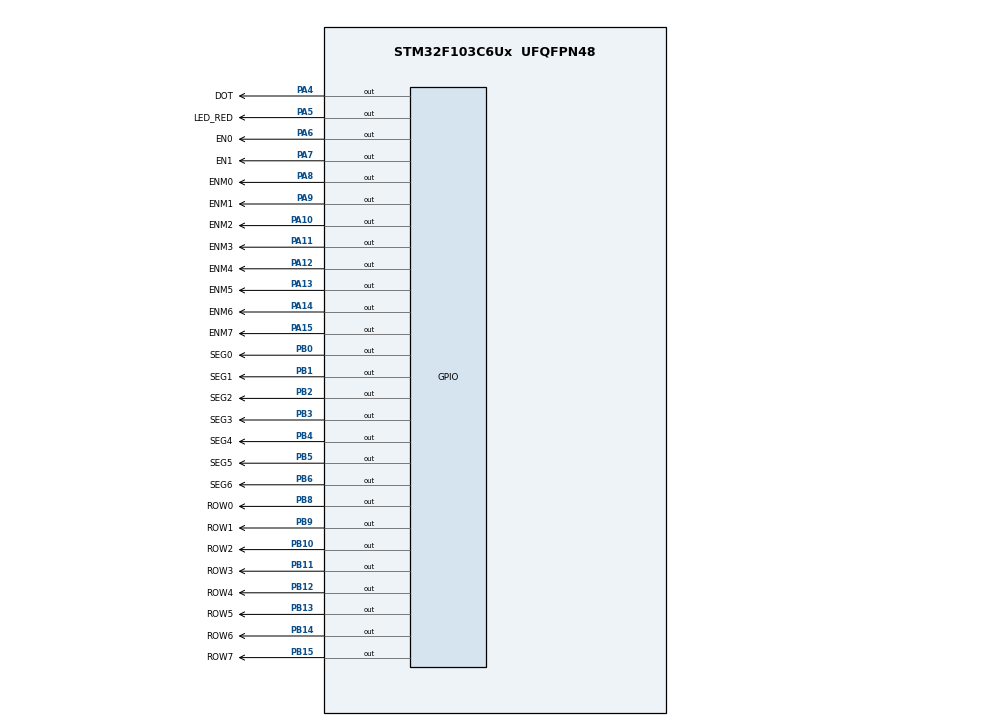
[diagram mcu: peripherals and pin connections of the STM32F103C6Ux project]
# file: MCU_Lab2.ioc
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Mcu.Family=STM32F1
Mcu.Name=STM32F103C6Ux
Mcu.Package=UFQFPN48
NVIC.PriorityGroup=NVIC_PRIORITYGROUP_4
NVIC.TIM2_IRQn=true\:0\:0\:false\:false\:true\:true\:true
PA10.GPIO_Label=ENM2
PA10.Signal=GPIO_Output
PA11.GPIO_Label=ENM3
PA11.Signal=GPIO_Output
PA12.GPIO_Label=ENM4
PA12.Signal=GPIO_Output
PA13.GPIO_Label=ENM5
PA13.Signal=GPIO_Output
PA14.GPIO_Label=ENM6
PA14.Signal=GPIO_Output
PA15.GPIO_Label=ENM7
PA15.Signal=GPIO_Output
PA4.GPIO_Label=DOT
PA4.Signal=GPIO_Output
PA5.GPIO_Label=LED_RED
PA5.Signal=GPIO_Output
PA6.GPIO_Label=EN0
PA6.Signal=GPIO_Output
PA7.GPIO_Label=EN1
PA7.Signal=GPIO_Output
PA8.GPIO_Label=ENM0
PA8.Signal=GPIO_Output
PA9.GPIO_Label=ENM1
PA9.Signal=GPIO_Output
PB0.GPIO_Label=SEG0
PB0.Signal=GPIO_Output
PB1.GPIO_Label=SEG1
PB1.Signal=GPIO_Output
PB10.GPIO_Label=ROW2
PB10.Signal=GPIO_Output
PB11.GPIO_Label=ROW3
PB11.Signal=GPIO_Output
PB12.GPIO_Label=ROW4
PB12.Signal=GPIO_Output
PB13.GPIO_Label=ROW5
PB13.Signal=GPIO_Output
PB14.GPIO_Label=ROW6
PB14.Signal=GPIO_Output
PB15.GPIO_Label=ROW7
PB15.Signal=GPIO_Output
PB2.GPIO_Label=SEG2
PB2.Signal=GPIO_Output
PB3.GPIO_Label=SEG3
PB3.Signal=GPIO_Output
PB4.GPIO_Label=SEG4
PB4.Signal=GPIO_Output
PB5.GPIO_Label=SEG5
PB5.Signal=GPIO_Output
PB6.GPIO_Label=SEG6
PB6.Signal=GPIO_Output
PB8.GPIO_Label=ROW0
PB8.Signal=GPIO_Output
PB9.GPIO_Label=ROW1
PB9.Signal=GPIO_Output
ProjectManager.HeapSize=0x200
ProjectManager.StackSize=0x400
ProjectManager.TargetToolchain=STM32CubeIDE
RCC.APB1Freq_Value=8000000
RCC.APB2Freq_Value=8000000
TIM2.Period=9
TIM2.Prescaler=7999
VP_SYS_VS_ND.Mode=No_Debug
VP_TIM2_VS_ClockSourceINT.Mode=Internal
board=custom

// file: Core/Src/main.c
/* USER CODE BEGIN Header */
/**
  ******************************************************************************
  * @file           : main.c
  * @brief          : Main program body
  ******************************************************************************
  * @attention
  *
  * <h2><center>&copy; Copyright (c) 2023 STMicroelectronics.
  * All rights reserved.</center></h2>
  *
  * This software component is licensed by ST under BSD 3-Clause license,
  * the "License"; You may not use this file except in compliance with the
  * License. You may obtain a copy of the License at:
  *                        opensource.org/licenses/BSD-3-Clause
  *
  ******************************************************************************
  */
/* USER CODE END Header */
#include "main.h"

/* USER CODE BEGIN Includes */
#include "software_timer.h"
/* USER CODE END Includes */

TIM_HandleTypeDef htim2;

void SystemClock_Config(void);
static void MX_GPIO_Init(void);
static void MX_TIM2_Init(void);

/* USER CODE BEGIN 0 */
void display(int val){
	switch (val){
		case 0:
			HAL_GPIO_WritePin(GPIOB, SEG1_Pin | SEG2_Pin |SEG0_Pin | SEG3_Pin | SEG4_Pin | SEG5_Pin, RESET);
			HAL_GPIO_WritePin(GPIOB, SEG6_Pin , SET);
			break;
		case 1:
			HAL_GPIO_WritePin(GPIOB, SEG1_Pin | SEG2_Pin , RESET);
			HAL_GPIO_WritePin(GPIOB, SEG0_Pin | SEG3_Pin | SEG4_Pin | SEG5_Pin| SEG6_Pin , SET);
			break;
		case 2:
			HAL_GPIO_WritePin(GPIOB, SEG0_Pin | SEG1_Pin | SEG3_Pin | SEG4_Pin | SEG6_Pin , RESET);
			HAL_GPIO_WritePin(GPIOB, SEG2_Pin | SEG5_Pin , SET);
			break;
		case 3:
			HAL_GPIO_WritePin(GPIOB, SEG1_Pin | SEG2_Pin |SEG0_Pin | SEG3_Pin | SEG6_Pin, RESET);
			HAL_GPIO_WritePin(GPIOB, SEG4_Pin | SEG5_Pin , SET);
			break;
		case 4:
			HAL_GPIO_WritePin(GPIOB, SEG1_Pin | SEG2_Pin |SEG5_Pin | SEG6_Pin, RESET);
			HAL_GPIO_WritePin(GPIOB, SEG0_Pin | SEG3_Pin| SEG4_Pin , SET);
			break;
		case 5:
			HAL_GPIO_WritePin(GPIOB, SEG0_Pin | SEG2_Pin | SEG3_Pin |SEG5_Pin | SEG6_Pin, RESET);
			HAL_GPIO_WritePin(GPIOB, SEG1_Pin | SEG4_Pin , SET);
			break;
		case 6:
			HAL_GPIO_WritePin(GPIOB, SEG0_Pin | SEG2_Pin | SEG3_Pin |  SEG4_Pin| SEG5_Pin | SEG6_Pin, RESET);
			HAL_GPIO_WritePin(GPIOB, SEG1_Pin , SET);
			break;
		case 7:
			HAL_GPIO_WritePin(GPIOB, SEG0_Pin | SEG1_Pin | SEG2_Pin , RESET);
			HAL_GPIO_WritePin(GPIOB, SEG3_Pin | SEG4_Pin | SEG5_Pin |  SEG6_Pin, SET);
			break;
		case 8:
			HAL_GPIO_WritePin(GPIOB, SEG1_Pin | SEG2_Pin |SEG0_Pin | SEG3_Pin | SEG4_Pin | SEG5_Pin |SEG6_Pin, RESET);
			break;
		case 9:
			HAL_GPIO_WritePin(GPIOB, SEG1_Pin | SEG2_Pin |SEG0_Pin | SEG3_Pin | SEG6_Pin | SEG5_Pin, RESET);
			HAL_GPIO_WritePin(GPIOB, SEG4_Pin , SET);
			break;
	}
}
const int MAX_LED_MATRIX = 8;
int index_led_matrix = 0;
uint16_t matrix_buffer[8] = {0xffff, 0x03ff, 0xedff, 0xeeff, 0xeeff, 0xedff, 0x03ff, 0xffff};

uint16_t zero[8] = {0xffff, 0xc1ff, 0x80ff, 0xbaff, 0xb6ff, 0xaeff, 0x80ff, 0xc1ff};
uint16_t one[8] = {0xffff, 0xbfff, 0xbfff, 0x80ff, 0x80ff, 0xbdff, 0xbfff, 0xffff};
uint16_t two[8] = {0xffff, 0x99ff, 0x90ff, 0xb6ff, 0xa6ff, 0x8eff, 0x9cff, 0xbdff};
uint16_t three[8] = {0xffff, 0xc9ff, 0x80ff, 0xb6ff, 0xb6ff, 0xb6ff, 0x9cff, 0xddff};
uint16_t four[8] = {0xffff, 0xafff, 0x80ff, 0x80ff, 0xacff, 0xe9ff, 0xe3ff, 0xe7ff};
uint16_t five[8] = {0xffff, 0xceff, 0x86ff, 0xb6ff, 0xb6ff, 0xb6ff, 0x90ff, 0xd0ff};
uint16_t six[8] = {0xffff, 0xcfff, 0x87ff, 0xb6ff, 0xb6ff, 0xb4ff, 0x81ff, 0xc3ff};
uint16_t seven[8] = {0xffff, 0xfcff, 0xf8ff, 0xf2ff, 0x86ff, 0x8eff, 0xfcff, 0xfcff};
uint16_t eight[8] = {0xffff, 0xc9ff, 0x80ff, 0xb6ff, 0xb6ff, 0xb6ff, 0x80ff, 0xc9ff};
uint16_t nine[8] = {0xffff, 0xe1ff, 0xc0ff, 0x96ff, 0xb6ff, 0xb6ff, 0xb0ff, 0xf9ff};
void updateLEDMatrix(int index){
      switch (index){
          case 0:
          	for (int i = 0; i < 8; i++) {
          		matrix_buffer[i] = zero[i];
          	}
              break;
          case 1:
          	for (int i = 0; i < 8; i++) {
          		matrix_buffer[i] = one[i];
          	}
              break;
          case 2:
          	for (int i = 0; i < 8; i++) {
          		matrix_buffer[i] = two[i];
          	}
              break;
          case 3:
          	for (int i = 0; i < 8; i++) {
          		matrix_buffer[i] = three[i];
          	}
              break;
          case 4:
          	for (int i = 0; i < 8; i++) {
          		matrix_buffer[i] = four[i];
          	}
              break;
          case 5:
          	for (int i = 0; i < 8; i++) {
          		matrix_buffer[i] = five[i];
          	}
              break;
          case 6:
          	for (int i = 0; i < 8; i++) {
          		matrix_buffer[i] = six[i];
          	}
              break;
          case 7:
          	for (int i = 0; i < 8; i++) {
          		matrix_buffer[i] = seven[i];
          	}
          	  break;
          case 8:
             for (int i = 0; i < 8; i++) {
                matrix_buffer[i] = eight[i];
            }
              break;
          case 9:
              for (int i = 0; i < 8; i++) {
                matrix_buffer[i] = nine[i];
            }
              break;
          default:
              break;
      }
 }
void shift_left ( uint16_t array [8]) {
	uint16_t temp = array [7];
	for ( int j = 7; j >= 0; j --) {
		array [j] = array [j - 1];
	}
	array [0] = temp ;
}

/* USER CODE END 0 */

int main(void)
{

  /* MCU Configuration--------------------------------------------------------*/

  /* Reset of all peripherals, Initializes the Flash interface and the Systick. */
  HAL_Init();

  /* Configure the system clock */
  SystemClock_Config();

  /* Initialize all configured peripherals */
  MX_GPIO_Init();
  MX_TIM2_Init();
  /* USER CODE BEGIN 2 */
  HAL_TIM_Base_Start_IT(&htim2);
  /* USER CODE END 2 */

  /* Infinite loop */
  /* USER CODE BEGIN WHILE */
  setTimer1(2);
  setTimer2(3);
  int i = -1;
  while (1)
  {
    /* USER CODE END WHILE */
	  if (timer1_flag == 1) {
	  		 // UPDATE MATRIX LED
	  		  setTimer1(1);
	  		  i++;
	  		  if (i >= MAX_LED_MATRIX) {
	  			  i = 0;
	  		  }
	  		  GPIOA->ODR = ~0x8000 >> i;
	  		  GPIOB->ODR = matrix_buffer[i];
	  	  }
	  if (timer2_flag == 1) {
	  		  // Scroll 'A' in the left direction
	  		  setTimer2(100);
	  		  shift_left(matrix_buffer);
	  	  }
	 	  }
}

void SystemClock_Config(void)
{
  RCC_OscInitTypeDef RCC_OscInitStruct = {0};
  RCC_ClkInitTypeDef RCC_ClkInitStruct = {0};

  /** Initializes the RCC Oscillators according to the specified parameters
  * in the RCC_OscInitTypeDef structure.
  */
  RCC_OscInitStruct.OscillatorType = RCC_OSCILLATORTYPE_HSI;
  RCC_OscInitStruct.HSIState = RCC_HSI_ON;
  RCC_OscInitStruct.HSICalibrationValue = RCC_HSICALIBRATION_DEFAULT;
  RCC_OscInitStruct.PLL.PLLState = RCC_PLL_NONE;
  if (HAL_RCC_OscConfig(&RCC_OscInitStruct) != HAL_OK)
  {
    Error_Handler();
  }
  /** Initializes the CPU, AHB and APB buses clocks
  */
  RCC_ClkInitStruct.ClockType = RCC_CLOCKTYPE_HCLK|RCC_CLOCKTYPE_SYSCLK
                              |RCC_CLOCKTYPE_PCLK1|RCC_CLOCKTYPE_PCLK2;
  RCC_ClkInitStruct.SYSCLKSource = RCC_SYSCLKSOURCE_HSI;
  RCC_ClkInitStruct.AHBCLKDivider = RCC_SYSCLK_DIV1;
  RCC_ClkInitStruct.APB1CLKDivider = RCC_HCLK_DIV1;
  RCC_ClkInitStruct.APB2CLKDivider = RCC_HCLK_DIV1;

  if (HAL_RCC_ClockConfig(&RCC_ClkInitStruct, FLASH_LATENCY_0) != HAL_OK)
  {
    Error_Handler();
  }
}

static void MX_TIM2_Init(void)
{

  TIM_ClockConfigTypeDef sClockSourceConfig = {0};
  TIM_MasterConfigTypeDef sMasterConfig = {0};

  htim2.Instance = TIM2;
  htim2.Init.Prescaler = 7999;
  htim2.Init.CounterMode = TIM_COUNTERMODE_UP;
  htim2.Init.Period = 9;
  htim2.Init.ClockDivision = TIM_CLOCKDIVISION_DIV1;
  htim2.Init.AutoReloadPreload = TIM_AUTORELOAD_PRELOAD_DISABLE;
  if (HAL_TIM_Base_Init(&htim2) != HAL_OK)
  {
    Error_Handler();
  }
  sClockSourceConfig.ClockSource = TIM_CLOCKSOURCE_INTERNAL;
  if (HAL_TIM_ConfigClockSource(&htim2, &sClockSourceConfig) != HAL_OK)
  {
    Error_Handler();
  }
  sMasterConfig.MasterOutputTrigger = TIM_TRGO_RESET;
  sMasterConfig.MasterSlaveMode = TIM_MASTERSLAVEMODE_DISABLE;
  if (HAL_TIMEx_MasterConfigSynchronization(&htim2, &sMasterConfig) != HAL_OK)
  {
    Error_Handler();
  }

}

static void MX_GPIO_Init(void)
{
  GPIO_InitTypeDef GPIO_InitStruct = {0};

  /* GPIO Ports Clock Enable */
  __HAL_RCC_GPIOA_CLK_ENABLE();
  __HAL_RCC_GPIOB_CLK_ENABLE();

  /*Configure GPIO pin Output Level */
  HAL_GPIO_WritePin(GPIOA, DOT_Pin|LED_RED_Pin|EN0_Pin|EN1_Pin
                          |ENM0_Pin|ENM1_Pin|ENM2_Pin|ENM3_Pin
                          |ENM4_Pin|ENM5_Pin|ENM6_Pin|ENM7_Pin, GPIO_PIN_RESET);

  /*Configure GPIO pin Output Level */
  HAL_GPIO_WritePin(GPIOB, SEG0_Pin|SEG1_Pin|SEG2_Pin|ROW2_Pin
                          |ROW3_Pin|ROW4_Pin|ROW5_Pin|ROW6_Pin
                          |ROW7_Pin|SEG3_Pin|SEG4_Pin|SEG5_Pin
                          |SEG6_Pin|ROW0_Pin|ROW1_Pin, GPIO_PIN_RESET);

  /*Configure GPIO pins : DOT_Pin LED_RED_Pin EN0_Pin EN1_Pin
                           ENM0_Pin ENM1_Pin ENM2_Pin ENM3_Pin
                           ENM4_Pin ENM5_Pin ENM6_Pin ENM7_Pin */
  GPIO_InitStruct.Pin = DOT_Pin|LED_RED_Pin|EN0_Pin|EN1_Pin
                          |ENM0_Pin|ENM1_Pin|ENM2_Pin|ENM3_Pin
                          |ENM4_Pin|ENM5_Pin|ENM6_Pin|ENM7_Pin;
  GPIO_InitStruct.Mode = GPIO_MODE_OUTPUT_PP;
  GPIO_InitStruct.Pull = GPIO_NOPULL;
  GPIO_InitStruct.Speed = GPIO_SPEED_FREQ_LOW;
  HAL_GPIO_Init(GPIOA, &GPIO_InitStruct);

  /*Configure GPIO pins : SEG0_Pin SEG1_Pin SEG2_Pin ROW2_Pin
                           ROW3_Pin ROW4_Pin ROW5_Pin ROW6_Pin
                           ROW7_Pin SEG3_Pin SEG4_Pin SEG5_Pin
                           SEG6_Pin ROW0_Pin ROW1_Pin */
  GPIO_InitStruct.Pin = SEG0_Pin|SEG1_Pin|SEG2_Pin|ROW2_Pin
                          |ROW3_Pin|ROW4_Pin|ROW5_Pin|ROW6_Pin
                          |ROW7_Pin|SEG3_Pin|SEG4_Pin|SEG5_Pin
                          |SEG6_Pin|ROW0_Pin|ROW1_Pin;
  GPIO_InitStruct.Mode = GPIO_MODE_OUTPUT_PP;
  GPIO_InitStruct.Pull = GPIO_NOPULL;
  GPIO_InitStruct.Speed = GPIO_SPEED_FREQ_LOW;
  HAL_GPIO_Init(GPIOB, &GPIO_InitStruct);

}

/* USER CODE BEGIN 4 */
void HAL_TIM_PeriodElapsedCallback(TIM_HandleTypeDef *htim){
	timerRun();
}
/* USER CODE END 4 */

void Error_Handler(void)
{
  __disable_irq();
  while (1)
  {
  }
}

/************************ (C) COPYRIGHT STMicroelectronics *****END OF FILE****/
